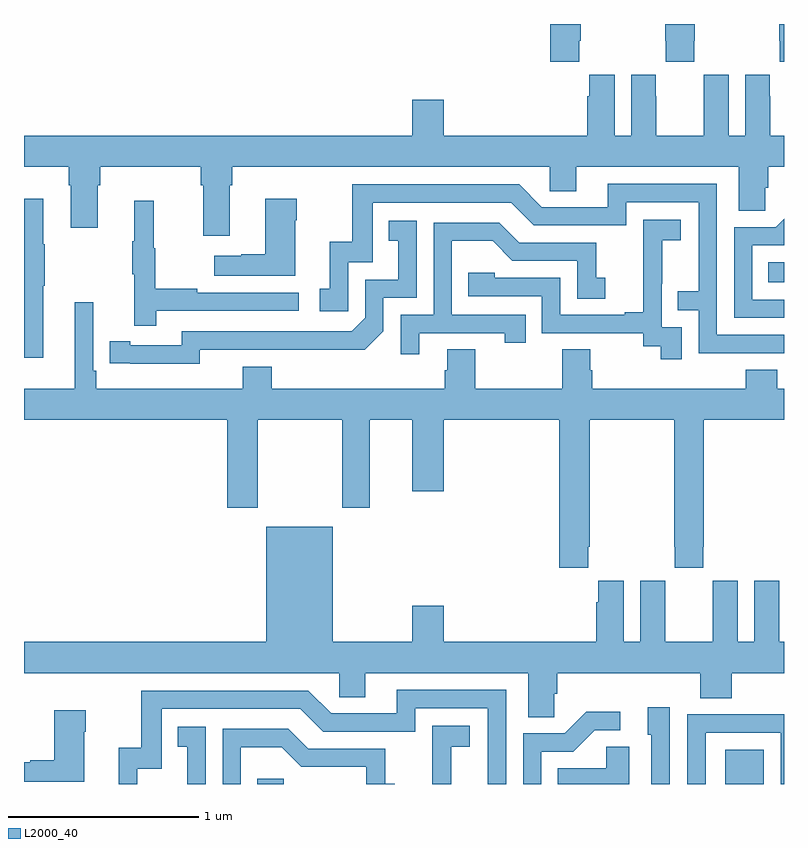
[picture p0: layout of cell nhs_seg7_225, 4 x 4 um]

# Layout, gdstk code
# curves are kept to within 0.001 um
import gdstk
lib = gdstk.Library(unit=1e-6, precision=1e-09)
def R(c, l, rs):  # rectangles x0, y0, x1, y1
    for r in rs: c.add(gdstk.rectangle(r[:2], r[2:], *l))
def P(c, l, *ps):  # polygons
    for p in ps: c.add(gdstk.Polygon(p, *l))
L2000_40 = (2000, 40)

nhs_seg7_225 = lib.new_cell('nhs_seg7_225')
R(nhs_seg7_225, L2000_40, [(128.227,1032,128.367,1032.027), (130.691,1032,130.894,1032.181), (130.918,1034.642,131,1034.746)])
P(nhs_seg7_225, L2000_40, [(130.527,1035.913),(130.53,1035.913),(130.53,1036),(130.375,1036),(130.375,1035.913),(130.377,1035.913),(130.377,1035.801),(130.527,1035.801)],
  [(131,1036),(130.975,1036),(130.975,1035.913),(130.977,1035.913),(130.977,1035.801),(131,1035.801)],
  [(129.923,1035.913),(129.93,1035.913),(129.93,1036),(129.77,1036),(129.77,1035.801),(129.923,1035.801)],
  [(128.083,1035.152),(128.096,1035.152),(128.096,1035.248),(129.768,1035.248),(129.768,1035.121),(129.907,1035.121),(129.907,1035.248),(130.763,1035.248),(130.763,1035.016),(130.902,1035.016),(130.902,1035.139),(130.916,1035.139),(130.916,1035.248),(131,1035.248),(131,1035.412),(130.927,1035.412),(130.927,1035.62),(130.926,1035.62),(130.926,1035.733),(130.796,1035.733),(130.796,1035.412),(130.708,1035.412),(130.708,1035.733),(130.578,1035.733),(130.578,1035.62),(130.577,1035.62),(130.577,1035.412),(130.327,1035.412),(130.327,1035.62),(130.326,1035.62),(130.326,1035.733),(130.196,1035.733),(130.196,1035.412),(130.108,1035.412),(130.108,1035.733),(129.974,1035.733),(129.974,1035.62),(129.965,1035.62),(129.965,1035.412),(129.208,1035.412),(129.208,1035.601),(129.044,1035.601),(129.044,1035.412),(127,1035.412),(127,1035.248),(127.235,1035.248),(127.235,1035.152),(127.247,1035.152),(127.247,1034.928),(127.387,1034.928),(127.387,1035.152),(127.4,1035.152),(127.4,1035.248),(127.931,1035.248),(127.931,1035.152),(127.943,1035.152),(127.943,1034.886),(128.083,1034.886)],
  [(131,1034.364),(130.647,1034.364),(130.647,1035.159),(130.073,1035.159),(130.073,1035.036),(129.726,1035.036),(129.606,1035.156),(128.727,1035.156),(128.727,1034.853),(128.608,1034.853),(128.608,1034.607),(128.556,1034.607),(128.556,1034.487),(128.706,1034.487),(128.706,1034.745),(128.835,1034.745),(128.835,1035.06),(129.564,1035.06),(129.684,1034.94),(130.17,1034.94),(130.17,1035.063),(130.551,1035.063),(130.551,1034.594),(130.441,1034.594),(130.441,1034.493),(130.551,1034.493),(130.551,1034.268),(131,1034.268)],
  [(127.102,1034.623),(127.11,1034.623),(127.11,1034.84),(127.102,1034.84),(127.102,1035.079),(127,1035.079),(127,1034.244),(127.102,1034.244)],
  [(128.428,1034.966),(128.436,1034.966),(128.436,1035.079),(128.27,1035.079),(128.27,1034.789),(128.144,1034.789),(128.144,1034.779),(128.001,1034.779),(128.001,1034.675),(128.428,1034.675)],
  [(127.697,1034.49),(128.446,1034.49),(128.446,1034.586),(127.913,1034.586),(127.913,1034.606),(127.69,1034.606),(127.69,1034.82),(127.682,1034.82),(127.682,1035.07),(127.58,1035.07),(127.58,1034.857),(127.569,1034.857),(127.569,1034.683),(127.58,1034.683),(127.58,1034.412),(127.697,1034.412)],
  [(131,1034.55),(130.833,1034.55),(130.833,1034.835),(131,1034.835),(131,1034.975),(130.956,1034.931),(130.737,1034.931),(130.737,1034.454),(131,1034.454)],
  [(130.461,1034.403),(130.356,1034.403),(130.356,1034.632),(130.358,1034.632),(130.358,1034.861),(130.456,1034.861),(130.456,1034.971),(130.258,1034.971),(130.258,1034.765),(130.259,1034.765),(130.259,1034.482),(130.163,1034.482),(130.163,1034.469),(129.822,1034.469),(129.822,1034.664),(129.477,1034.664),(129.477,1034.691),(129.337,1034.691),(129.337,1034.568),(129.726,1034.568),(129.726,1034.373),(130.26,1034.373),(130.26,1034.305),(130.352,1034.305),(130.352,1034.235),(130.461,1034.235)],
  [(127.926,1034.286),(128.794,1034.285),(128.892,1034.382),(128.892,1034.559),(129.066,1034.559),(129.066,1034.965),(128.92,1034.965),(128.92,1034.859),(128.969,1034.859),(128.969,1034.655),(128.796,1034.655),(128.796,1034.454),(128.724,1034.382),(127.83,1034.382),(127.83,1034.31),(127.558,1034.31),(127.558,1034.33),(127.45,1034.33),(127.45,1034.214),(127.926,1034.213)],
  [(129.079,1034.373),(129.53,1034.373),(129.53,1034.322),(129.641,1034.322),(129.641,1034.469),(129.252,1034.469),(129.252,1034.858),(129.466,1034.858),(129.57,1034.754),(129.912,1034.754),(129.912,1034.555),(130.06,1034.555),(130.06,1034.665),(130.011,1034.665),(130.011,1034.85),(129.607,1034.85),(129.502,1034.955),(129.156,1034.955),(129.156,1034.469),(128.982,1034.469),(128.982,1034.262),(129.079,1034.262)],
  [(129.971,1033.249),(129.977,1033.249),(129.977,1033.916),(130.423,1033.916),(130.423,1033.249),(130.425,1033.249),(130.425,1033.137),(130.575,1033.137),(130.575,1033.249),(130.578,1033.249),(130.578,1033.916),(131,1033.916),(131,1034.08),(130.964,1034.08),(130.964,1034.179),(130.799,1034.179),(130.799,1034.08),(129.992,1034.08),(129.992,1034.178),(129.979,1034.178),(129.979,1034.288),(129.832,1034.288),(129.832,1034.08),(129.375,1034.08),(129.375,1034.288),(129.227,1034.288),(129.227,1034.178),(129.215,1034.178),(129.215,1034.08),(128.303,1034.08),(128.303,1034.197),(128.15,1034.197),(128.15,1034.08),(127.379,1034.08),(127.379,1034.176),(127.365,1034.176),(127.365,1034.536),(127.268,1034.536),(127.268,1034.08),(127,1034.08),(127,1033.916),(128.069,1033.916),(128.069,1033.455),(128.229,1033.455),(128.229,1033.916),(128.674,1033.916),(128.674,1033.455),(128.821,1033.455),(128.821,1033.916),(129.044,1033.916),(129.044,1033.542),(129.208,1033.542),(129.208,1033.916),(129.818,1033.916),(129.818,1033.137),(129.971,1033.137)],
  [(129.792,1032.475),(129.806,1032.475),(129.806,1032.584),(130.559,1032.584),(130.559,1032.451),(130.724,1032.451),(130.724,1032.584),(131,1032.584),(131,1032.748),(130.975,1032.748),(130.975,1032.956),(130.974,1032.956),(130.974,1033.069),(130.844,1033.069),(130.844,1032.748),(130.756,1032.748),(130.756,1033.069),(130.626,1033.069),(130.626,1032.956),(130.625,1032.956),(130.625,1032.748),(130.375,1032.748),(130.375,1032.956),(130.374,1032.956),(130.374,1033.069),(130.244,1033.069),(130.244,1032.748),(130.156,1032.748),(130.156,1033.069),(130.022,1033.069),(130.022,1032.956),(130.013,1032.956),(130.013,1032.748),(129.208,1032.748),(129.208,1032.937),(129.044,1032.937),(129.044,1032.748),(128.626,1032.748),(128.626,1033.354),(128.276,1033.354),(128.276,1032.748),(127,1032.748),(127,1032.584),(128.658,1032.584),(128.658,1032.457),(128.797,1032.457),(128.797,1032.584),(129.653,1032.584),(129.653,1032.352),(129.792,1032.352)],
  [(127.596,1032.081),(127.725,1032.081),(127.725,1032.396),(128.454,1032.396),(128.574,1032.276),(129.06,1032.276),(129.06,1032.399),(129.441,1032.399),(129.441,1032),(129.537,1032),(129.537,1032.495),(128.963,1032.495),(128.963,1032.372),(128.616,1032.372),(128.496,1032.492),(127.617,1032.492),(127.617,1032.19),(127.499,1032.19),(127.499,1032),(127.596,1032)],
  [(130.398,1032.403),(130.283,1032.403),(130.283,1032.258),(130.302,1032.258),(130.302,1032),(130.398,1032)],
  [(127.318,1032.275),(127.326,1032.275),(127.326,1032.388),(127.16,1032.388),(127.16,1032.125),(127.034,1032.125),(127.034,1032.115),(127,1032.115),(127,1032.011),(127.318,1032.011)],
  [(129.723,1032.171),(129.892,1032.171),(130.003,1032.282),(130.138,1032.282),(130.138,1032.38),(129.959,1032.38),(129.846,1032.267),(129.627,1032.267),(129.627,1032),(129.723,1032)],
  [(130.587,1032.27),(130.983,1032.27),(130.983,1032),(131,1032),(131,1032.368),(130.807,1032.368),(130.807,1032.366),(130.491,1032.366),(130.491,1032),(130.587,1032)],
  [(129.248,1032.197),(129.346,1032.197),(129.346,1032.307),(129.148,1032.307),(129.148,1032.101),(129.149,1032.101),(129.149,1032),(129.248,1032)],
  [(127.956,1032.301),(127.81,1032.301),(127.81,1032.195),(127.859,1032.195),(127.859,1032),(127.956,1032)],
  [(128.142,1032.194),(128.356,1032.194),(128.46,1032.09),(128.802,1032.09),(128.802,1032),(128.95,1032),(128.901,1032.001),(128.901,1032.186),(128.497,1032.186),(128.392,1032.291),(128.046,1032.291),(128.046,1032),(128.142,1032)],
  [(130.186,1032.197),(130.065,1032.197),(130.065,1032.082),(129.808,1032.082),(129.808,1032),(130.186,1032)])

lib.write_gds('nhs_seg7_225.gds')
